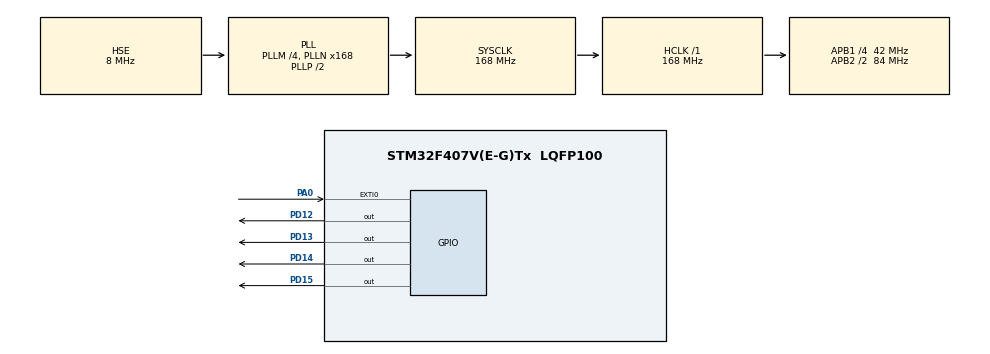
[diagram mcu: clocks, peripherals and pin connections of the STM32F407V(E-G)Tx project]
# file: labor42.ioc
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Mcu.Family=STM32F4
Mcu.Name=STM32F407V(E-G)Tx
Mcu.Package=LQFP100
NVIC.EXTI0_IRQn=true\:0\:0\:false\:false\:true\:true\:true\:true
NVIC.PriorityGroup=NVIC_PRIORITYGROUP_4
PA0-WKUP.Signal=GPXTI0
PA13.Mode=Serial_Wire
PA13.Signal=SYS_JTMS-SWDIO
PA14.Mode=Serial_Wire
PA14.Signal=SYS_JTCK-SWCLK
PD12.Signal=GPIO_Output
PD13.Signal=GPIO_Output
PD14.Signal=GPIO_Output
PD15.Signal=GPIO_Output
PH0-OSC_IN.Mode=HSE-External-Oscillator
PH0-OSC_IN.Signal=RCC_OSC_IN
PH1-OSC_OUT.Mode=HSE-External-Oscillator
PH1-OSC_OUT.Signal=RCC_OSC_OUT
ProjectManager.HeapSize=0x200
ProjectManager.StackSize=0x400
ProjectManager.TargetToolchain=STM32CubeIDE
RCC.48MHZClocksFreq_Value=84000000
RCC.AHBFreq_Value=168000000
RCC.APB1CLKDivider=RCC_HCLK_DIV4
RCC.APB1Freq_Value=42000000
RCC.APB1TimFreq_Value=84000000
RCC.APB2CLKDivider=RCC_HCLK_DIV2
RCC.APB2Freq_Value=84000000
RCC.APB2TimFreq_Value=168000000
RCC.CortexFreq_Value=168000000
RCC.HCLKFreq_Value=168000000
RCC.HSE_VALUE=8000000
RCC.HSI_VALUE=16000000
RCC.LSE_VALUE=32768
RCC.PLLM=4
RCC.PLLN=168
RCC.PLLSourceVirtual=RCC_PLLSOURCE_HSE
RCC.SYSCLKFreq_VALUE=168000000
RCC.SYSCLKSource=RCC_SYSCLKSOURCE_PLLCLK
RCC.VCOOutputFreq_Value=336000000
board=custom

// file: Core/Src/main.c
/* USER CODE BEGIN Header */
/**
  ******************************************************************************
  * @file           : main.c
  * @brief          : Main program body
  ******************************************************************************
  * @attention
  *
  * Copyright (c) 2026 STMicroelectronics.
  * All rights reserved.
  *
  * This software is licensed under terms that can be found in the LICENSE file
  * in the root directory of this software component.
  * If no LICENSE file comes with this software, it is provided AS-IS.
  *
  ******************************************************************************
  */
/* USER CODE END Header */
#include "main.h"

/* USER CODE BEGIN PV */
volatile uint8_t led_step = 0;
volatile uint32_t last_press_time = 0;
/* USER CODE END PV */

void SystemClock_Config(void);
static void MX_GPIO_Init(void);

/* USER CODE BEGIN 0 */
void Update_LEDs(uint8_t step)
{
  HAL_GPIO_WritePin(GPIOD, GPIO_PIN_12 | GPIO_PIN_13 | GPIO_PIN_14 | GPIO_PIN_15, GPIO_PIN_RESET);

  switch (step)
  {
    case 1:
      HAL_GPIO_WritePin(GPIOD, GPIO_PIN_12, GPIO_PIN_SET);
      break;

    case 2:
      HAL_GPIO_WritePin(GPIOD, GPIO_PIN_12 | GPIO_PIN_13, GPIO_PIN_SET);
      break;

    case 3:
      HAL_GPIO_WritePin(GPIOD, GPIO_PIN_12 | GPIO_PIN_13 | GPIO_PIN_14, GPIO_PIN_SET);
      break;

    case 4:
      HAL_GPIO_WritePin(GPIOD, GPIO_PIN_12 | GPIO_PIN_13 | GPIO_PIN_14 | GPIO_PIN_15, GPIO_PIN_SET);
      break;

    default:
      break;
  }
}
/* USER CODE END 0 */

int main(void)
{

  /* MCU Configuration--------------------------------------------------------*/

  /* Reset of all peripherals, Initializes the Flash interface and the Systick. */
  HAL_Init();

  /* Configure the system clock */
  SystemClock_Config();

  /* Initialize all configured peripherals */
  MX_GPIO_Init();

  /* Infinite loop */
  while (1)
  {

  }
}

void SystemClock_Config(void)
{
  RCC_OscInitTypeDef RCC_OscInitStruct = {0};
  RCC_ClkInitTypeDef RCC_ClkInitStruct = {0};

  /** Configure the main internal regulator output voltage
  */
  __HAL_RCC_PWR_CLK_ENABLE();
  __HAL_PWR_VOLTAGESCALING_CONFIG(PWR_REGULATOR_VOLTAGE_SCALE1);

  /** Initializes the RCC Oscillators according to the specified parameters
  * in the RCC_OscInitTypeDef structure.
  */
  RCC_OscInitStruct.OscillatorType = RCC_OSCILLATORTYPE_HSE;
  RCC_OscInitStruct.HSEState = RCC_HSE_ON;
  RCC_OscInitStruct.PLL.PLLState = RCC_PLL_ON;
  RCC_OscInitStruct.PLL.PLLSource = RCC_PLLSOURCE_HSE;
  RCC_OscInitStruct.PLL.PLLM = 4;
  RCC_OscInitStruct.PLL.PLLN = 168;
  RCC_OscInitStruct.PLL.PLLP = RCC_PLLP_DIV2;
  RCC_OscInitStruct.PLL.PLLQ = 4;
  if (HAL_RCC_OscConfig(&RCC_OscInitStruct) != HAL_OK)
  {
    Error_Handler();
  }

  /** Initializes the CPU, AHB and APB buses clocks
  */
  RCC_ClkInitStruct.ClockType = RCC_CLOCKTYPE_HCLK|RCC_CLOCKTYPE_SYSCLK
                              |RCC_CLOCKTYPE_PCLK1|RCC_CLOCKTYPE_PCLK2;
  RCC_ClkInitStruct.SYSCLKSource = RCC_SYSCLKSOURCE_PLLCLK;
  RCC_ClkInitStruct.AHBCLKDivider = RCC_SYSCLK_DIV1;
  RCC_ClkInitStruct.APB1CLKDivider = RCC_HCLK_DIV4;
  RCC_ClkInitStruct.APB2CLKDivider = RCC_HCLK_DIV2;

  if (HAL_RCC_ClockConfig(&RCC_ClkInitStruct, FLASH_LATENCY_5) != HAL_OK)
  {
    Error_Handler();
  }
}

static void MX_GPIO_Init(void)
{
  GPIO_InitTypeDef GPIO_InitStruct = {0};

  /* GPIO Ports Clock Enable */
  __HAL_RCC_GPIOH_CLK_ENABLE();
  __HAL_RCC_GPIOA_CLK_ENABLE();
  __HAL_RCC_GPIOD_CLK_ENABLE();

  /*Configure GPIO pin Output Level */
  HAL_GPIO_WritePin(GPIOD, GPIO_PIN_12|GPIO_PIN_13|GPIO_PIN_14|GPIO_PIN_15, GPIO_PIN_RESET);

  /*Configure GPIO pin : PA0 */
  GPIO_InitStruct.Pin = GPIO_PIN_0;
  GPIO_InitStruct.Mode = GPIO_MODE_IT_RISING;
  GPIO_InitStruct.Pull = GPIO_NOPULL;
  HAL_GPIO_Init(GPIOA, &GPIO_InitStruct);

  /*Configure GPIO pins : PD12 PD13 PD14 PD15 */
  GPIO_InitStruct.Pin = GPIO_PIN_12|GPIO_PIN_13|GPIO_PIN_14|GPIO_PIN_15;
  GPIO_InitStruct.Mode = GPIO_MODE_OUTPUT_PP;
  GPIO_InitStruct.Pull = GPIO_NOPULL;
  GPIO_InitStruct.Speed = GPIO_SPEED_FREQ_LOW;
  HAL_GPIO_Init(GPIOD, &GPIO_InitStruct);

  /* EXTI interrupt init*/
  HAL_NVIC_SetPriority(EXTI0_IRQn, 0, 0);
  HAL_NVIC_EnableIRQ(EXTI0_IRQn);

}

/* USER CODE BEGIN 4 */
void HAL_GPIO_EXTI_Callback(uint16_t GPIO_Pin)
{
  if (GPIO_Pin == GPIO_PIN_0)
  {
    uint32_t now = HAL_GetTick();

    if (now - last_press_time < 200)
      return;

    last_press_time = now;

    led_step++;

    if (led_step > 4)
      led_step = 1;

    Update_LEDs(led_step);
  }
}
/* USER CODE END 4 */

void Error_Handler(void)
{
  __disable_irq();
  while (1)
  {
  }
}
